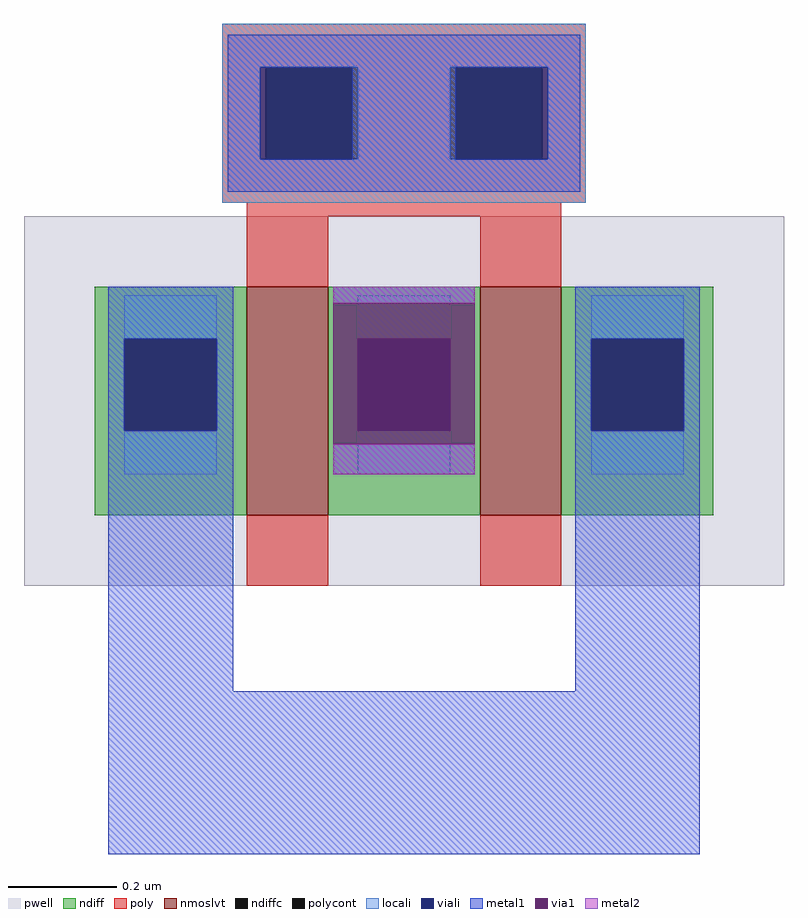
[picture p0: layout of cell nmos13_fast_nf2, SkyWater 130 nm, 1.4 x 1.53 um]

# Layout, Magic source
magic
tech sky130A
magscale 1 2
<< pwell >>
rect -56 304 224 440
<< nmoslvt >>
rect 26 330 56 414
rect 112 330 142 414
<< ndiff >>
rect -30 395 26 414
rect -30 361 -19 395
rect 15 361 26 395
rect -30 330 26 361
rect 56 395 112 414
rect 56 361 67 395
rect 101 361 112 395
rect 56 330 112 361
rect 142 395 198 414
rect 142 361 153 395
rect 187 361 198 395
rect 142 330 198 361
<< ndiffc >>
rect -19 361 15 395
rect 67 361 101 395
rect 153 361 187 395
<< poly >>
rect 17 495 151 511
rect 17 461 33 495
rect 67 461 101 495
rect 135 461 151 495
rect 17 445 151 461
rect 26 440 142 445
rect 26 414 56 440
rect 112 414 142 440
rect 26 304 56 330
rect 112 304 142 330
<< polycont >>
rect 33 461 67 495
rect 101 461 135 495
<< locali >>
rect 17 495 151 511
rect 17 461 31 495
rect 67 461 101 495
rect 137 461 151 495
rect 17 445 151 461
rect -19 395 15 411
rect -19 345 15 361
rect 67 395 101 411
rect 67 345 101 361
rect 153 395 187 411
rect 153 345 187 361
<< viali >>
rect 31 461 33 495
rect 33 461 65 495
rect 103 461 135 495
rect 135 461 137 495
rect -19 361 15 395
rect 67 361 101 395
rect 153 361 187 395
<< metal1 >>
rect 19 495 149 507
rect 19 461 31 495
rect 65 461 103 495
rect 137 461 149 495
rect 19 449 149 461
rect -25 395 21 414
rect -25 361 -19 395
rect 15 361 21 395
rect -25 265 21 361
rect 58 408 110 414
rect 58 345 110 356
rect 147 395 193 414
rect 147 361 153 395
rect 187 361 193 395
rect 147 265 193 361
rect -25 205 193 265
<< via1 >>
rect 58 395 110 408
rect 58 361 67 395
rect 67 361 101 395
rect 101 361 110 395
rect 58 356 110 361
<< metal2 >>
rect 58 408 110 414
rect 58 345 110 356
<< end >>
